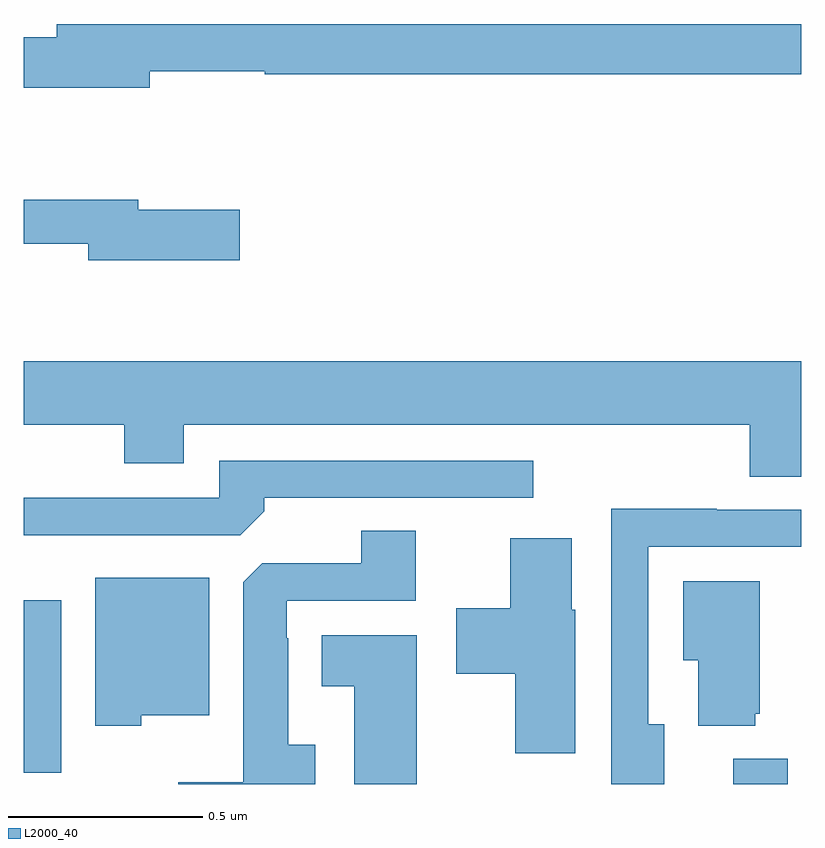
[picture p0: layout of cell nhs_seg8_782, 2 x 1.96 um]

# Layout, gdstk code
import gdstk
lib = gdstk.Library(unit=1e-6, precision=1e-09)
def R(c, l, rs):  # rectangles x0, y0, x1, y1
    for r in rs: c.add(gdstk.rectangle(r[:2], r[2:], *l))
def P(c, l, *ps):  # polygons
    for p in ps: c.add(gdstk.Polygon(p, *l))
L2000_40 = (2000, 40)

nhs_seg8_782 = lib.new_cell('nhs_seg8_782')
R(nhs_seg8_782, L2000_40, [(122.825,1124.9,122.965,1124.965), (121,1124.929,121.096,1125.373)])
P(nhs_seg8_782, L2000_40, [(121.324,1126.734),(121.62,1126.734),(121.62,1126.726),(123,1126.726),(123,1126.855),(121.085,1126.855),(121.085,1126.821),(121,1126.821),(121,1126.691),(121.324,1126.691)],
  [(121.555,1126.377),(121.294,1126.377),(121.294,1126.403),(121,1126.403),(121,1126.29),(121.166,1126.29),(121.166,1126.247),(121.555,1126.247)],
  [(123,1125.988),(121,1125.988),(121,1125.824),(121.259,1125.824),(121.259,1125.725),(121.411,1125.725),(121.411,1125.824),(122.867,1125.824),(122.867,1125.691),(123,1125.691)],
  [(121.619,1125.602),(121.619,1125.636),(122.311,1125.636),(122.311,1125.732),(121.503,1125.732),(121.503,1125.636),(121,1125.636),(121,1125.54),(121.557,1125.54)],
  [(122.647,1125.054),(122.607,1125.054),(122.607,1125.51),(123,1125.51),(123,1125.606),(122.783,1125.606),(122.783,1125.608),(122.511,1125.608),(122.511,1124.9),(122.647,1124.9)],
  [(121.75,1125.001),(121.681,1125.001),(121.681,1125.275),(121.677,1125.275),(121.677,1125.372),(122.008,1125.372),(122.008,1125.551),(121.868,1125.551),(121.868,1125.468),(121.614,1125.468),(121.565,1125.419),(121.565,1124.905),(121.398,1124.905),(121.398,1124.9),(121.75,1124.9)],
  [(122.419,1125.348),(122.41,1125.348),(122.41,1125.532),(122.252,1125.532),(122.252,1125.352),(122.112,1125.352),(122.112,1125.183),(122.264,1125.183),(122.264,1124.979),(122.419,1124.979)],
  [(121.302,1125.077),(121.477,1125.077),(121.477,1125.43),(121.184,1125.43),(121.184,1125.05),(121.302,1125.05)],
  [(122.882,1125.081),(122.893,1125.081),(122.893,1125.421),(122.696,1125.421),(122.696,1125.218),(122.735,1125.218),(122.735,1125.05),(122.882,1125.05)],
  [(122.011,1125.283),(121.766,1125.283),(121.766,1125.152),(121.85,1125.152),(121.85,1124.9),(122.011,1124.9)])

lib.write_gds('nhs_seg8_782.gds')
